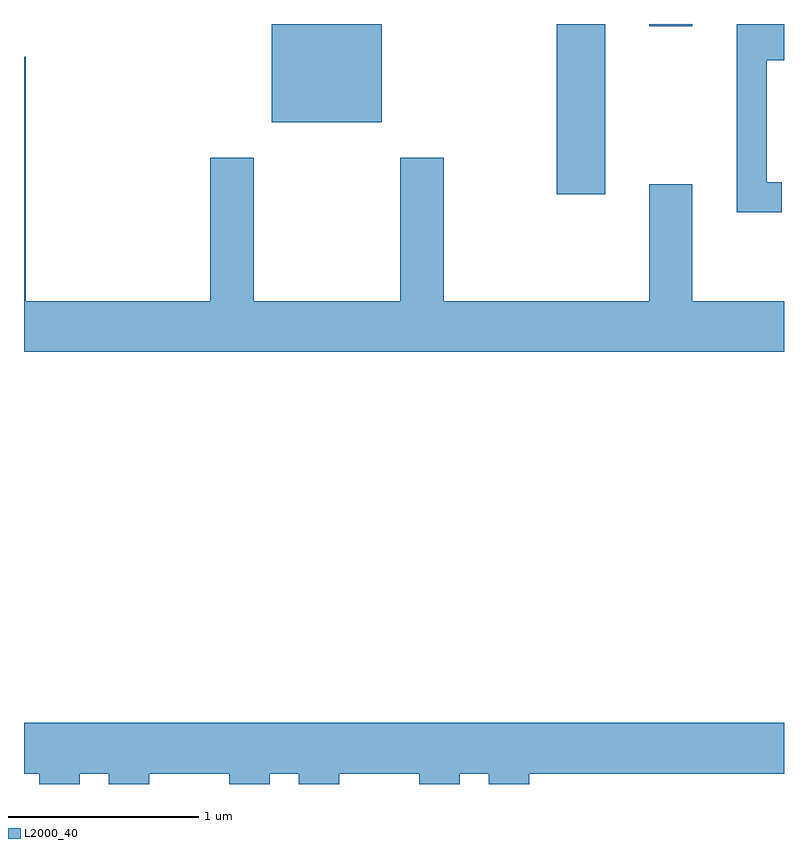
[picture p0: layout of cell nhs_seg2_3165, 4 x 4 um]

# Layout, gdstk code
import gdstk
lib = gdstk.Library(unit=1e-6, precision=1e-09)
def R(c, l, rs):  # rectangles x0, y0, x1, y1
    for r in rs: c.add(gdstk.rectangle(r[:2], r[2:], *l))
def P(c, l, *ps):  # polygons
    for p in ps: c.add(gdstk.Polygon(p, *l))
L2000_40 = (2000, 40)

nhs_seg2_3165 = lib.new_cell('nhs_seg2_3165')
R(nhs_seg2_3165, L2000_40, [(280.416,1066.906,280.669,1067.802), (278.916,1067.286,279.494,1067.802), (280.901,1067.791,281.129,1067.802)])
P(nhs_seg2_3165, L2000_40, [(281.598,1066.969),(281.519,1066.969),(281.519,1067.611),(281.611,1067.611),(281.611,1067.802),(281.361,1067.802),(281.361,1066.811),(281.598,1066.811)],
  [(281.611,1066.344),(281.129,1066.344),(281.129,1066.959),(280.901,1066.959),(280.901,1066.344),(279.819,1066.344),(279.819,1067.099),(279.591,1067.099),(279.591,1066.344),(278.819,1066.344),(278.819,1067.099),(278.591,1067.099),(278.591,1066.344),(277.619,1066.344),(277.619,1067.629),(277.611,1067.629),(277.611,1066.076),(281.611,1066.076)],
  [(277.904,1063.856),(278.056,1063.856),(278.056,1063.802),(278.269,1063.802),(278.269,1063.856),(278.691,1063.856),(278.691,1063.802),(278.904,1063.802),(278.904,1063.856),(279.056,1063.856),(279.056,1063.802),(279.269,1063.802),(279.269,1063.856),(279.691,1063.856),(279.691,1063.802),(279.904,1063.802),(279.904,1063.856),(280.056,1063.856),(280.056,1063.802),(280.269,1063.802),(280.269,1063.856),(281.611,1063.856),(281.611,1064.124),(277.611,1064.124),(277.611,1063.856),(277.691,1063.856),(277.691,1063.802),(277.904,1063.802)])

lib.write_gds('nhs_seg2_3165.gds')
